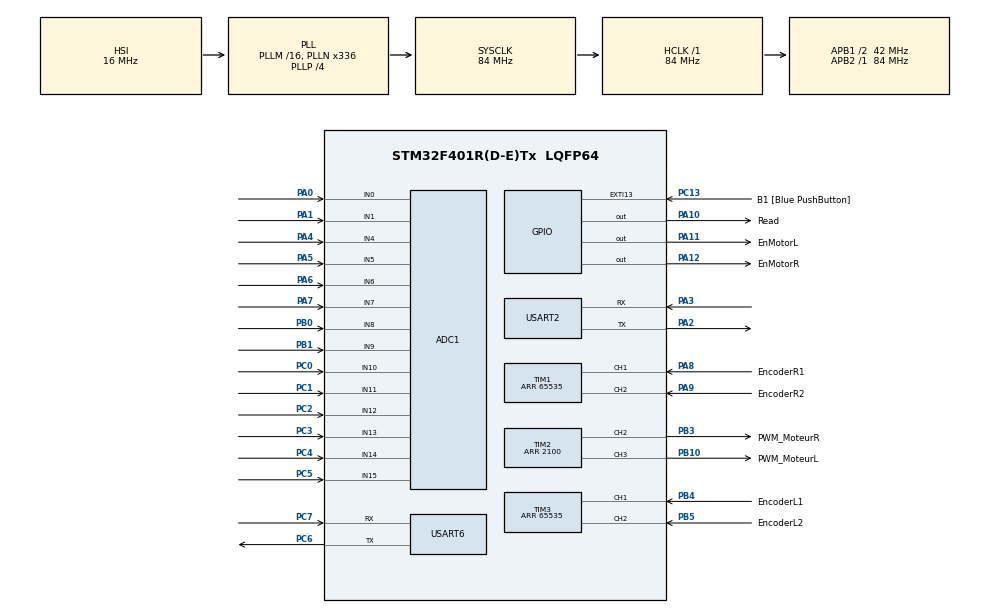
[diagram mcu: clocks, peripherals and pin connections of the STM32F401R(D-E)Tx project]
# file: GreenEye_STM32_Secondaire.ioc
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ADC1.Channel-0\#ChannelRegularConversion=ADC_CHANNEL_4
ADC1.Channel-1\#ChannelRegularConversion=ADC_CHANNEL_5
ADC1.ContinuousConvMode=DISABLE
ADC1.DMAContinuousRequests=ENABLE
ADC1.EOCSelection=ADC_EOC_SEQ_CONV
ADC1.ExternalTrigConv=ADC_EXTERNALTRIGCONV_T2_CC4
ADC1.ExternalTrigConvEdge=ADC_EXTERNALTRIGCONVEDGE_RISINGFALLING
ADC1.InjNumberOfConversion=0
ADC1.NbrOfConversion=2
ADC1.NbrOfConversionFlag=1
ADC1.Rank-0\#ChannelRegularConversion=1
ADC1.Rank-1\#ChannelRegularConversion=2
ADC1.SamplingTime-0\#ChannelRegularConversion=ADC_SAMPLETIME_3CYCLES
ADC1.SamplingTime-1\#ChannelRegularConversion=ADC_SAMPLETIME_3CYCLES
ADC1.ScanConvMode=ENABLE
ADC1.master=1
Dma.ADC1.4.Direction=DMA_PERIPH_TO_MEMORY
Dma.ADC1.4.FIFOMode=DMA_FIFOMODE_DISABLE
Dma.ADC1.4.Instance=DMA2_Stream0
Dma.ADC1.4.MemDataAlignment=DMA_MDATAALIGN_WORD
Dma.ADC1.4.MemInc=DMA_MINC_ENABLE
Dma.ADC1.4.Mode=DMA_CIRCULAR
Dma.ADC1.4.PeriphDataAlignment=DMA_PDATAALIGN_WORD
Dma.ADC1.4.PeriphInc=DMA_PINC_DISABLE
Dma.ADC1.4.Priority=DMA_PRIORITY_LOW
Dma.Request0=USART6_RX
Dma.Request1=USART6_TX
Dma.Request2=USART2_RX
Dma.Request3=USART2_TX
Dma.Request4=ADC1
Dma.USART2_RX.2.Direction=DMA_PERIPH_TO_MEMORY
Dma.USART2_RX.2.FIFOMode=DMA_FIFOMODE_DISABLE
Dma.USART2_RX.2.Instance=DMA1_Stream5
Dma.USART2_RX.2.MemDataAlignment=DMA_MDATAALIGN_BYTE
Dma.USART2_RX.2.MemInc=DMA_MINC_ENABLE
Dma.USART2_RX.2.Mode=DMA_NORMAL
Dma.USART2_RX.2.PeriphDataAlignment=DMA_PDATAALIGN_BYTE
Dma.USART2_RX.2.PeriphInc=DMA_PINC_DISABLE
Dma.USART2_RX.2.Priority=DMA_PRIORITY_LOW
Dma.USART2_TX.3.Direction=DMA_MEMORY_TO_PERIPH
Dma.USART2_TX.3.FIFOMode=DMA_FIFOMODE_DISABLE
Dma.USART2_TX.3.Instance=DMA1_Stream6
Dma.USART2_TX.3.MemDataAlignment=DMA_MDATAALIGN_BYTE
Dma.USART2_TX.3.MemInc=DMA_MINC_ENABLE
Dma.USART2_TX.3.Mode=DMA_NORMAL
Dma.USART2_TX.3.PeriphDataAlignment=DMA_PDATAALIGN_BYTE
Dma.USART2_TX.3.PeriphInc=DMA_PINC_DISABLE
Dma.USART2_TX.3.Priority=DMA_PRIORITY_LOW
Dma.USART6_RX.0.Direction=DMA_PERIPH_TO_MEMORY
Dma.USART6_RX.0.FIFOMode=DMA_FIFOMODE_DISABLE
Dma.USART6_RX.0.Instance=DMA2_Stream1
Dma.USART6_RX.0.MemDataAlignment=DMA_MDATAALIGN_BYTE
Dma.USART6_RX.0.MemInc=DMA_MINC_ENABLE
Dma.USART6_RX.0.Mode=DMA_NORMAL
Dma.USART6_RX.0.PeriphDataAlignment=DMA_PDATAALIGN_BYTE
Dma.USART6_RX.0.PeriphInc=DMA_PINC_DISABLE
Dma.USART6_RX.0.Priority=DMA_PRIORITY_LOW
Dma.USART6_TX.1.Direction=DMA_MEMORY_TO_PERIPH
Dma.USART6_TX.1.FIFOMode=DMA_FIFOMODE_DISABLE
Dma.USART6_TX.1.Instance=DMA2_Stream6
Dma.USART6_TX.1.MemDataAlignment=DMA_MDATAALIGN_BYTE
Dma.USART6_TX.1.MemInc=DMA_MINC_ENABLE
Dma.USART6_TX.1.Mode=DMA_NORMAL
Dma.USART6_TX.1.PeriphDataAlignment=DMA_PDATAALIGN_BYTE
Dma.USART6_TX.1.PeriphInc=DMA_PINC_DISABLE
Dma.USART6_TX.1.Priority=DMA_PRIORITY_LOW
Mcu.Family=STM32F4
Mcu.Name=STM32F401R(D-E)Tx
Mcu.Package=LQFP64
NVIC.ADC_IRQn=true\:0\:0\:false\:false\:true\:true
NVIC.DMA1_Stream5_IRQn=true\:0\:0\:false\:false\:true\:false
NVIC.DMA1_Stream6_IRQn=true\:0\:0\:false\:false\:true\:false
NVIC.DMA2_Stream0_IRQn=true\:0\:0\:false\:false\:true\:false
NVIC.DMA2_Stream1_IRQn=true\:0\:0\:false\:false\:true\:false
NVIC.DMA2_Stream6_IRQn=true\:0\:0\:false\:false\:true\:false
NVIC.PriorityGroup=NVIC_PRIORITYGROUP_0
NVIC.TIM1_UP_TIM10_IRQn=true\:0\:0\:false\:false\:true\:true
NVIC.TIM4_IRQn=true\:0\:0\:false\:false\:true\:true
NVIC.USART2_IRQn=true\:0\:0\:false\:false\:true\:true
NVIC.USART6_IRQn=true\:0\:0\:false\:false\:true\:true
PA0-WKUP.Signal=ADCx_IN0
PA1.Signal=ADCx_IN1
PA10.GPIO_Label=Read
PA10.Signal=GPIO_Output
PA11.GPIO_Label=EnMotorL
PA11.GPIO_Speed=GPIO_SPEED_FREQ_VERY_HIGH
PA11.Signal=GPIO_Output
PA12.GPIO_Label=EnMotorR
PA12.GPIO_Speed=GPIO_SPEED_FREQ_VERY_HIGH
PA12.Signal=GPIO_Output
PA13.GPIO_Label=TMS
PA13.Mode=Serial_Wire
PA13.Signal=SYS_JTMS-SWDIO
PA14.GPIO_Label=TCK
PA14.Mode=Serial_Wire
PA14.Signal=SYS_JTCK-SWCLK
PA2.Mode=Asynchronous
PA2.Signal=USART2_TX
PA3.Mode=Asynchronous
PA3.Signal=USART2_RX
PA4.Signal=ADCx_IN4
PA5.Signal=ADCx_IN5
PA6.Signal=ADCx_IN6
PA7.Signal=ADCx_IN7
PA8.GPIO_Label=EncoderR1
PA8.GPIO_PuPd=GPIO_PULLDOWN
PA8.GPIO_Speed=GPIO_SPEED_FREQ_VERY_HIGH
PA8.Signal=S_TIM1_CH1
PA9.GPIO_Label=EncoderR2
PA9.GPIO_PuPd=GPIO_PULLDOWN
PA9.GPIO_Speed=GPIO_SPEED_FREQ_VERY_HIGH
PA9.Signal=S_TIM1_CH2
PB0.Signal=ADCx_IN8
PB1.Signal=ADCx_IN9
PB10.GPIO_Label=PWM_MoteurL
PB10.Signal=S_TIM2_CH3
PB3.GPIO_Label=PWM_MoteurR
PB3.Signal=S_TIM2_CH2
PB4.GPIO_Label=EncoderL1
PB4.Signal=S_TIM3_CH1
PB5.GPIO_Label=EncoderL2
PB5.Signal=S_TIM3_CH2
PC0.Signal=ADCx_IN10
PC1.Signal=ADCx_IN11
PC13-ANTI_TAMP.GPIO_Label=B1 [Blue PushButton]
PC13-ANTI_TAMP.GPIO_ModeDefaultEXTI=GPIO_MODE_IT_FALLING
PC13-ANTI_TAMP.GPIO_PuPd=GPIO_NOPULL
PC13-ANTI_TAMP.Signal=GPXTI13
PC14-OSC32_IN.Mode=LSE-External-Oscillator
PC14-OSC32_IN.Signal=RCC_OSC32_IN
PC15-OSC32_OUT.Mode=LSE-External-Oscillator
PC15-OSC32_OUT.Signal=RCC_OSC32_OUT
PC2.Signal=ADCx_IN12
PC3.Signal=ADCx_IN13
PC4.Signal=ADCx_IN14
PC5.Signal=ADCx_IN15
PC6.Mode=Asynchronous
PC6.Signal=USART6_TX
PC7.Mode=Asynchronous
PC7.Signal=USART6_RX
PH0\ -\ OSC_IN.Mode=HSE-External-Clock-Source
PH0\ -\ OSC_IN.Signal=RCC_OSC_IN
PH1\ -\ OSC_OUT.Mode=HSE-External-Clock-Source
PH1\ -\ OSC_OUT.Signal=RCC_OSC_OUT
ProjectManager.HeapSize=0x200
ProjectManager.StackSize=0x400
ProjectManager.TargetToolchain=MDK-ARM V5
RCC.48MHZClocksFreq_Value=48000000
RCC.AHBFreq_Value=84000000
RCC.APB1CLKDivider=RCC_HCLK_DIV2
RCC.APB1Freq_Value=42000000
RCC.APB1TimFreq_Value=84000000
RCC.APB2Freq_Value=84000000
RCC.APB2TimFreq_Value=84000000
RCC.CortexFreq_Value=84000000
RCC.HCLKFreq_Value=84000000
RCC.HSE_VALUE=8000000
RCC.HSI_VALUE=16000000
RCC.PLLN=336
RCC.PLLP=RCC_PLLP_DIV4
RCC.PLLQ=7
RCC.SYSCLKFreq_VALUE=84000000
RCC.SYSCLKSource=RCC_SYSCLKSOURCE_PLLCLK
RCC.VCOOutputFreq_Value=336000000
SH.ADCx_IN0.0=ADC1_IN0,IN0
SH.ADCx_IN1.0=ADC1_IN1,IN1
SH.ADCx_IN10.0=ADC1_IN10,IN10
SH.ADCx_IN11.0=ADC1_IN11,IN11
SH.ADCx_IN12.0=ADC1_IN12,IN12
SH.ADCx_IN13.0=ADC1_IN13,IN13
SH.ADCx_IN14.0=ADC1_IN14,IN14
SH.ADCx_IN15.0=ADC1_IN15,IN15
SH.ADCx_IN4.0=ADC1_IN4,IN4
SH.ADCx_IN5.0=ADC1_IN5,IN5
SH.ADCx_IN6.0=ADC1_IN6,IN6
SH.ADCx_IN7.0=ADC1_IN7,IN7
SH.ADCx_IN8.0=ADC1_IN8,IN8
SH.ADCx_IN9.0=ADC1_IN9,IN9
SH.S_TIM1_CH1.0=TIM1_CH1,Encoder_Interface
SH.S_TIM1_CH2.0=TIM1_CH2,Encoder_Interface
SH.S_TIM2_CH2.0=TIM2_CH2,PWM Generation2 CH2
SH.S_TIM2_CH3.0=TIM2_CH3,PWM Generation3 CH3
SH.S_TIM3_CH1.0=TIM3_CH1,Encoder_Interface
SH.S_TIM3_CH2.0=TIM3_CH2,Encoder_Interface
TIM1.EncoderMode=TIM_ENCODERMODE_TI12
TIM1.IC1Filter=0
TIM1.IC2Filter=0
TIM1.Period=65535
TIM1.TIM_MasterOutputTrigger=TIM_TRGO_UPDATE
TIM1.TIM_MasterSlaveMode=TIM_MASTERSLAVEMODE_DISABLE
TIM10.Period=42300
TIM10.Prescaler=19
TIM2.Channel-Output\ Compare4\ No\ Output=TIM_CHANNEL_4
TIM2.Channel-PWM\ Generation2\ CH2=TIM_CHANNEL_2
TIM2.Channel-PWM\ Generation3\ CH3=TIM_CHANNEL_3
TIM2.CounterMode=TIM_COUNTERMODE_CENTERALIGNED1
TIM2.OCMode_4=TIM_OCMODE_TOGGLE
TIM2.Period=2100
TIM3.EncoderMode=TIM_ENCODERMODE_TI12
TIM3.Period=65535
TIM4.Channel-PWM\ Generation1\ No\ Output=TIM_CHANNEL_1
TIM4.Period=21000
TIM4.Prescaler=32
TIM4.Pulse-PWM\ Generation1\ No\ Output=2100
USART2.VirtualMode=VM_ASYNC
USART6.VirtualMode=VM_ASYNC
VP_TIM10_VS_ClockSourceINT.Mode=Enable_Timer
VP_TIM2_VS_ClockSourceINT.Mode=Internal
VP_TIM2_VS_no_output4.Mode=Output Compare4 No Output
VP_TIM4_VS_no_output1.Mode=PWM Generation1 No Output
VP_TIM9_VS_ClockSourceINT.Mode=Internal
board=NUCLEO-F401RE

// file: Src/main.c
/* USER CODE BEGIN Header */
/**
  ******************************************************************************
  * @file           : main.c
  * @brief          : Main program body
  ******************************************************************************
  ** This notice applies to any and all portions of this file
  * that are not between comment pairs USER CODE BEGIN and
  * USER CODE END. Other portions of this file, whether
  * inserted by the user or by software development tools
  * are owned by their respective copyright owners.
  *
  * COPYRIGHT(c) 2019 STMicroelectronics
  *
  * Redistribution and use in source and binary forms, with or without modification,
  * are permitted provided that the following conditions are met:
  *   1. Redistributions of source code must retain the above copyright notice,
  *      this list of conditions and the following disclaimer.
  *   2. Redistributions in binary form must reproduce the above copyright notice,
  *      this list of conditions and the following disclaimer in the documentation
  *      and/or other materials provided with the distribution.
  *   3. Neither the name of STMicroelectronics nor the names of its contributors
  *      may be used to endorse or promote products derived from this software
  *      without specific prior written permission.
  *
  * THIS SOFTWARE IS PROVIDED BY THE COPYRIGHT HOLDERS AND CONTRIBUTORS "AS IS"
  * AND ANY EXPRESS OR IMPLIED WARRANTIES, INCLUDING, BUT NOT LIMITED TO, THE
  * IMPLIED WARRANTIES OF MERCHANTABILITY AND FITNESS FOR A PARTICULAR PURPOSE ARE
  * DISCLAIMED. IN NO EVENT SHALL THE COPYRIGHT HOLDER OR CONTRIBUTORS BE LIABLE
  * FOR ANY DIRECT, INDIRECT, INCIDENTAL, SPECIAL, EXEMPLARY, OR CONSEQUENTIAL
  * DAMAGES (INCLUDING, BUT NOT LIMITED TO, PROCUREMENT OF SUBSTITUTE GOODS OR
  * SERVICES; LOSS OF USE, DATA, OR PROFITS; OR BUSINESS INTERRUPTION) HOWEVER
  * CAUSED AND ON ANY THEORY OF LIABILITY, WHETHER IN CONTRACT, STRICT LIABILITY,
  * OR TORT (INCLUDING NEGLIGENCE OR OTHERWISE) ARISING IN ANY WAY OUT OF THE USE
  * OF THIS SOFTWARE, EVEN IF ADVISED OF THE POSSIBILITY OF SUCH DAMAGE.
  *
  ******************************************************************************
  */
/* USER CODE END Header */

#include "main.h"

/* USER CODE BEGIN Includes */
#include <stdio.h>
#include <stdlib.h>
#include <math.h>
#include <string.h>
#include "Communication_function.h"
#include "Extern_call_variable.h"
#include "List_Variables.h"
/* USER CODE END Includes */

ADC_HandleTypeDef hadc1;
DMA_HandleTypeDef hdma_adc1;

TIM_HandleTypeDef htim1;
TIM_HandleTypeDef htim2;
TIM_HandleTypeDef htim3;
TIM_HandleTypeDef htim4;
TIM_HandleTypeDef htim9;
TIM_HandleTypeDef htim10;

UART_HandleTypeDef huart2;
UART_HandleTypeDef huart6;
DMA_HandleTypeDef hdma_usart2_rx;
DMA_HandleTypeDef hdma_usart2_tx;
DMA_HandleTypeDef hdma_usart6_rx;
DMA_HandleTypeDef hdma_usart6_tx;

void SystemClock_Config(void);
static void MX_GPIO_Init(void);
static void MX_DMA_Init(void);
static void MX_TIM1_Init(void);
static void MX_TIM9_Init(void);
static void MX_USART6_UART_Init(void);
static void MX_USART2_UART_Init(void);
static void MX_ADC1_Init(void);
static void MX_TIM3_Init(void);
static void MX_TIM2_Init(void);
static void MX_TIM4_Init(void);
static void MX_TIM10_Init(void);

int main(void)
{

  /* MCU Configuration--------------------------------------------------------*/

  /* Reset of all peripherals, Initializes the Flash interface and the Systick. */
  HAL_Init();

  /* Configure the system clock */
  SystemClock_Config();

  /* Initialize all configured peripherals */
  MX_GPIO_Init();
  MX_DMA_Init();
  MX_TIM1_Init();
  MX_TIM9_Init();
  MX_USART6_UART_Init();
  MX_USART2_UART_Init();
  MX_ADC1_Init();
  MX_TIM3_Init();
  MX_TIM2_Init();
  MX_TIM4_Init();
  MX_TIM10_Init();
  /* USER CODE BEGIN 2 */
  //HAL_TIM_Base_Start(&htim1);  //PA9 & PA8 for ch1 and ch2 of encoder by default
	//HAL_TIM_Base_Start(&htim5);  //PA9 & PA8 for ch1 and ch2 of encoder by default
	HAL_TIM_PWM_Start(&htim2,TIM_CHANNEL_2);// PWM Moteur
	HAL_TIM_PWM_Start(&htim2,TIM_CHANNEL_3);// PWM Moteur
	HAL_TIM_OC_Start(&htim2,TIM_CHANNEL_4);//Conversion adc
	HAL_TIM_PWM_Start_IT(&htim4,TIM_CHANNEL_1);
	HAL_TIM_Encoder_Start(&htim1,TIM_CHANNEL_ALL);
	HAL_TIM_Encoder_Start(&htim3,TIM_CHANNEL_ALL);
	HAL_TIM_Base_Start_IT(&htim10);

	HAL_ADC_Start_DMA(&hadc1,Result_ADC,2);
	__HAL_UART_ENABLE_IT(&huart6, UART_IT_IDLE);   // Enable IDLE Line Interrupt
	__HAL_DMA_ENABLE_IT (&hdma_usart6_rx, DMA_IT_TC);  // Enable DMA Complete Interruption (DMA is full)
	hdma_usart6_rx.Instance->CR &= ~DMA_SxCR_HTIE;  // Disable DMA Half Complete Interruption (DMA is half full)
	HAL_UART_Receive_DMA (&huart6, BUFFER_RX[Indice_Stop_RX], SIZE_UART);
	__HAL_UART_ENABLE_IT(&huart2, UART_IT_IDLE);   // Enable IDLE Line Interrupt
	__HAL_DMA_ENABLE_IT (&hdma_usart2_rx, DMA_IT_TC);  // Enable DMA Complete Interruption (DMA is full)
	hdma_usart2_rx.Instance->CR &= ~DMA_SxCR_HTIE;  // Disable DMA Half Complete Interruption (DMA is half full)
	HAL_UART_Receive_DMA (&huart2, BUFFER_RX_UART2[Indice_Stop_RX_UART2], SIZE_UART);

  /* USER CODE END 2 */

  /* Infinite loop */
  /* USER CODE BEGIN WHILE */
	/* Communication with :Transmit_UART();)*/
  while (1)
  {
    /* USER CODE END WHILE */

    /* USER CODE BEGIN 3 */

	//TIM2->CCR2=abs(Output_Right_Motor);
					//HAL_GPIO_WritePin(GPIOA,GPIO_PIN_12,GPIO_PIN_RESET);

		Analyse_RX_Buffer();
		HAL_GPIO_WritePin(GPIOA,GPIO_PIN_10,GPIO_PIN_SET);
	}
  /* USER CODE END 3 */
}

void SystemClock_Config(void)
{
  RCC_OscInitTypeDef RCC_OscInitStruct = {0};
  RCC_ClkInitTypeDef RCC_ClkInitStruct = {0};

  /**Configure the main internal regulator output voltage
  */
  __HAL_RCC_PWR_CLK_ENABLE();
  __HAL_PWR_VOLTAGESCALING_CONFIG(PWR_REGULATOR_VOLTAGE_SCALE2);
  /**Initializes the CPU, AHB and APB busses clocks
  */
  RCC_OscInitStruct.OscillatorType = RCC_OSCILLATORTYPE_HSI;
  RCC_OscInitStruct.HSIState = RCC_HSI_ON;
  RCC_OscInitStruct.HSICalibrationValue = RCC_HSICALIBRATION_DEFAULT;
  RCC_OscInitStruct.PLL.PLLState = RCC_PLL_ON;
  RCC_OscInitStruct.PLL.PLLSource = RCC_PLLSOURCE_HSI;
  RCC_OscInitStruct.PLL.PLLM = 16;
  RCC_OscInitStruct.PLL.PLLN = 336;
  RCC_OscInitStruct.PLL.PLLP = RCC_PLLP_DIV4;
  RCC_OscInitStruct.PLL.PLLQ = 7;
  if (HAL_RCC_OscConfig(&RCC_OscInitStruct) != HAL_OK)
  {
    Error_Handler();
  }
  /**Initializes the CPU, AHB and APB busses clocks
  */
  RCC_ClkInitStruct.ClockType = RCC_CLOCKTYPE_HCLK|RCC_CLOCKTYPE_SYSCLK
                              |RCC_CLOCKTYPE_PCLK1|RCC_CLOCKTYPE_PCLK2;
  RCC_ClkInitStruct.SYSCLKSource = RCC_SYSCLKSOURCE_PLLCLK;
  RCC_ClkInitStruct.AHBCLKDivider = RCC_SYSCLK_DIV1;
  RCC_ClkInitStruct.APB1CLKDivider = RCC_HCLK_DIV2;
  RCC_ClkInitStruct.APB2CLKDivider = RCC_HCLK_DIV1;

  if (HAL_RCC_ClockConfig(&RCC_ClkInitStruct, FLASH_LATENCY_2) != HAL_OK)
  {
    Error_Handler();
  }
}

static void MX_ADC1_Init(void)
{

  ADC_ChannelConfTypeDef sConfig = {0};

  /**Configure the global features of the ADC (Clock, Resolution, Data Alignment and number of conversion)
  */
  hadc1.Instance = ADC1;
  hadc1.Init.ClockPrescaler = ADC_CLOCK_SYNC_PCLK_DIV4;
  hadc1.Init.Resolution = ADC_RESOLUTION_12B;
  hadc1.Init.ScanConvMode = ENABLE;
  hadc1.Init.ContinuousConvMode = DISABLE;
  hadc1.Init.DiscontinuousConvMode = DISABLE;
  hadc1.Init.ExternalTrigConvEdge = ADC_EXTERNALTRIGCONVEDGE_RISINGFALLING;
  hadc1.Init.ExternalTrigConv = ADC_EXTERNALTRIGCONV_T2_CC4;
  hadc1.Init.DataAlign = ADC_DATAALIGN_RIGHT;
  hadc1.Init.NbrOfConversion = 2;
  hadc1.Init.DMAContinuousRequests = ENABLE;
  hadc1.Init.EOCSelection = ADC_EOC_SEQ_CONV;
  if (HAL_ADC_Init(&hadc1) != HAL_OK)
  {
    Error_Handler();
  }
  /**Configure for the selected ADC regular channel its corresponding rank in the sequencer and its sample time.
  */
  sConfig.Channel = ADC_CHANNEL_4;
  sConfig.Rank = 1;
  sConfig.SamplingTime = ADC_SAMPLETIME_3CYCLES;
  if (HAL_ADC_ConfigChannel(&hadc1, &sConfig) != HAL_OK)
  {
    Error_Handler();
  }
  /**Configure for the selected ADC regular channel its corresponding rank in the sequencer and its sample time.
  */
  sConfig.Channel = ADC_CHANNEL_5;
  sConfig.Rank = 2;
  if (HAL_ADC_ConfigChannel(&hadc1, &sConfig) != HAL_OK)
  {
    Error_Handler();
  }

}

static void MX_TIM1_Init(void)
{

  TIM_Encoder_InitTypeDef sConfig = {0};
  TIM_MasterConfigTypeDef sMasterConfig = {0};

  htim1.Instance = TIM1;
  htim1.Init.Prescaler = 0;
  htim1.Init.CounterMode = TIM_COUNTERMODE_UP;
  htim1.Init.Period = 65535;
  htim1.Init.ClockDivision = TIM_CLOCKDIVISION_DIV1;
  htim1.Init.RepetitionCounter = 0;
  sConfig.EncoderMode = TIM_ENCODERMODE_TI12;
  sConfig.IC1Polarity = TIM_ICPOLARITY_RISING;
  sConfig.IC1Selection = TIM_ICSELECTION_DIRECTTI;
  sConfig.IC1Prescaler = TIM_ICPSC_DIV1;
  sConfig.IC1Filter = 0;
  sConfig.IC2Polarity = TIM_ICPOLARITY_RISING;
  sConfig.IC2Selection = TIM_ICSELECTION_DIRECTTI;
  sConfig.IC2Prescaler = TIM_ICPSC_DIV1;
  sConfig.IC2Filter = 0;
  if (HAL_TIM_Encoder_Init(&htim1, &sConfig) != HAL_OK)
  {
    Error_Handler();
  }
  sMasterConfig.MasterOutputTrigger = TIM_TRGO_UPDATE;
  sMasterConfig.MasterSlaveMode = TIM_MASTERSLAVEMODE_DISABLE;
  if (HAL_TIMEx_MasterConfigSynchronization(&htim1, &sMasterConfig) != HAL_OK)
  {
    Error_Handler();
  }

}

static void MX_TIM2_Init(void)
{

  TIM_ClockConfigTypeDef sClockSourceConfig = {0};
  TIM_MasterConfigTypeDef sMasterConfig = {0};
  TIM_OC_InitTypeDef sConfigOC = {0};

  htim2.Instance = TIM2;
  htim2.Init.Prescaler = 0;
  htim2.Init.CounterMode = TIM_COUNTERMODE_CENTERALIGNED1;
  htim2.Init.Period = 2100;
  htim2.Init.ClockDivision = TIM_CLOCKDIVISION_DIV1;
  if (HAL_TIM_Base_Init(&htim2) != HAL_OK)
  {
    Error_Handler();
  }
  sClockSourceConfig.ClockSource = TIM_CLOCKSOURCE_INTERNAL;
  if (HAL_TIM_ConfigClockSource(&htim2, &sClockSourceConfig) != HAL_OK)
  {
    Error_Handler();
  }
  if (HAL_TIM_PWM_Init(&htim2) != HAL_OK)
  {
    Error_Handler();
  }
  if (HAL_TIM_OC_Init(&htim2) != HAL_OK)
  {
    Error_Handler();
  }
  sMasterConfig.MasterOutputTrigger = TIM_TRGO_RESET;
  sMasterConfig.MasterSlaveMode = TIM_MASTERSLAVEMODE_DISABLE;
  if (HAL_TIMEx_MasterConfigSynchronization(&htim2, &sMasterConfig) != HAL_OK)
  {
    Error_Handler();
  }
  sConfigOC.OCMode = TIM_OCMODE_PWM1;
  sConfigOC.Pulse = 0;
  sConfigOC.OCPolarity = TIM_OCPOLARITY_HIGH;
  sConfigOC.OCFastMode = TIM_OCFAST_DISABLE;
  if (HAL_TIM_PWM_ConfigChannel(&htim2, &sConfigOC, TIM_CHANNEL_2) != HAL_OK)
  {
    Error_Handler();
  }
  if (HAL_TIM_PWM_ConfigChannel(&htim2, &sConfigOC, TIM_CHANNEL_3) != HAL_OK)
  {
    Error_Handler();
  }
  sConfigOC.OCMode = TIM_OCMODE_TOGGLE;
  if (HAL_TIM_OC_ConfigChannel(&htim2, &sConfigOC, TIM_CHANNEL_4) != HAL_OK)
  {
    Error_Handler();
  }
  HAL_TIM_MspPostInit(&htim2);

}

static void MX_TIM3_Init(void)
{

  TIM_Encoder_InitTypeDef sConfig = {0};
  TIM_MasterConfigTypeDef sMasterConfig = {0};

  htim3.Instance = TIM3;
  htim3.Init.Prescaler = 0;
  htim3.Init.CounterMode = TIM_COUNTERMODE_UP;
  htim3.Init.Period = 65535;
  htim3.Init.ClockDivision = TIM_CLOCKDIVISION_DIV1;
  sConfig.EncoderMode = TIM_ENCODERMODE_TI12;
  sConfig.IC1Polarity = TIM_ICPOLARITY_RISING;
  sConfig.IC1Selection = TIM_ICSELECTION_DIRECTTI;
  sConfig.IC1Prescaler = TIM_ICPSC_DIV1;
  sConfig.IC1Filter = 0;
  sConfig.IC2Polarity = TIM_ICPOLARITY_RISING;
  sConfig.IC2Selection = TIM_ICSELECTION_DIRECTTI;
  sConfig.IC2Prescaler = TIM_ICPSC_DIV1;
  sConfig.IC2Filter = 0;
  if (HAL_TIM_Encoder_Init(&htim3, &sConfig) != HAL_OK)
  {
    Error_Handler();
  }
  sMasterConfig.MasterOutputTrigger = TIM_TRGO_RESET;
  sMasterConfig.MasterSlaveMode = TIM_MASTERSLAVEMODE_DISABLE;
  if (HAL_TIMEx_MasterConfigSynchronization(&htim3, &sMasterConfig) != HAL_OK)
  {
    Error_Handler();
  }

}

static void MX_TIM4_Init(void)
{

  TIM_MasterConfigTypeDef sMasterConfig = {0};
  TIM_OC_InitTypeDef sConfigOC = {0};

  htim4.Instance = TIM4;
  htim4.Init.Prescaler = 32;
  htim4.Init.CounterMode = TIM_COUNTERMODE_UP;
  htim4.Init.Period = 21000;
  htim4.Init.ClockDivision = TIM_CLOCKDIVISION_DIV1;
  if (HAL_TIM_PWM_Init(&htim4) != HAL_OK)
  {
    Error_Handler();
  }
  sMasterConfig.MasterOutputTrigger = TIM_TRGO_RESET;
  sMasterConfig.MasterSlaveMode = TIM_MASTERSLAVEMODE_DISABLE;
  if (HAL_TIMEx_MasterConfigSynchronization(&htim4, &sMasterConfig) != HAL_OK)
  {
    Error_Handler();
  }
  sConfigOC.OCMode = TIM_OCMODE_PWM1;
  sConfigOC.Pulse = 2100;
  sConfigOC.OCPolarity = TIM_OCPOLARITY_HIGH;
  sConfigOC.OCFastMode = TIM_OCFAST_DISABLE;
  if (HAL_TIM_PWM_ConfigChannel(&htim4, &sConfigOC, TIM_CHANNEL_1) != HAL_OK)
  {
    Error_Handler();
  }

}

static void MX_TIM9_Init(void)
{

  TIM_ClockConfigTypeDef sClockSourceConfig = {0};

  htim9.Instance = TIM9;
  htim9.Init.Prescaler = 0;
  htim9.Init.CounterMode = TIM_COUNTERMODE_UP;
  htim9.Init.Period = 0;
  htim9.Init.ClockDivision = TIM_CLOCKDIVISION_DIV1;
  if (HAL_TIM_Base_Init(&htim9) != HAL_OK)
  {
    Error_Handler();
  }
  sClockSourceConfig.ClockSource = TIM_CLOCKSOURCE_INTERNAL;
  if (HAL_TIM_ConfigClockSource(&htim9, &sClockSourceConfig) != HAL_OK)
  {
    Error_Handler();
  }

}

static void MX_TIM10_Init(void)
{

  htim10.Instance = TIM10;
  htim10.Init.Prescaler = 19;
  htim10.Init.CounterMode = TIM_COUNTERMODE_UP;
  htim10.Init.Period = 42300;
  htim10.Init.ClockDivision = TIM_CLOCKDIVISION_DIV1;
  if (HAL_TIM_Base_Init(&htim10) != HAL_OK)
  {
    Error_Handler();
  }

}

static void MX_USART2_UART_Init(void)
{

  huart2.Instance = USART2;
  huart2.Init.BaudRate = 115200;
  huart2.Init.WordLength = UART_WORDLENGTH_8B;
  huart2.Init.StopBits = UART_STOPBITS_1;
  huart2.Init.Parity = UART_PARITY_NONE;
  huart2.Init.Mode = UART_MODE_TX_RX;
  huart2.Init.HwFlowCtl = UART_HWCONTROL_NONE;
  huart2.Init.OverSampling = UART_OVERSAMPLING_16;
  if (HAL_UART_Init(&huart2) != HAL_OK)
  {
    Error_Handler();
  }

}

static void MX_USART6_UART_Init(void)
{

  huart6.Instance = USART6;
  huart6.Init.BaudRate = 115200;
  huart6.Init.WordLength = UART_WORDLENGTH_8B;
  huart6.Init.StopBits = UART_STOPBITS_1;
  huart6.Init.Parity = UART_PARITY_NONE;
  huart6.Init.Mode = UART_MODE_TX_RX;
  huart6.Init.HwFlowCtl = UART_HWCONTROL_NONE;
  huart6.Init.OverSampling = UART_OVERSAMPLING_16;
  if (HAL_UART_Init(&huart6) != HAL_OK)
  {
    Error_Handler();
  }

}

static void MX_DMA_Init(void)
{
  /* DMA controller clock enable */
  __HAL_RCC_DMA2_CLK_ENABLE();
  __HAL_RCC_DMA1_CLK_ENABLE();

  /* DMA interrupt init */
  /* DMA1_Stream5_IRQn interrupt configuration */
  HAL_NVIC_SetPriority(DMA1_Stream5_IRQn, 0, 0);
  HAL_NVIC_EnableIRQ(DMA1_Stream5_IRQn);
  /* DMA1_Stream6_IRQn interrupt configuration */
  HAL_NVIC_SetPriority(DMA1_Stream6_IRQn, 0, 0);
  HAL_NVIC_EnableIRQ(DMA1_Stream6_IRQn);
  /* DMA2_Stream0_IRQn interrupt configuration */
  HAL_NVIC_SetPriority(DMA2_Stream0_IRQn, 0, 0);
  HAL_NVIC_EnableIRQ(DMA2_Stream0_IRQn);
  /* DMA2_Stream1_IRQn interrupt configuration */
  HAL_NVIC_SetPriority(DMA2_Stream1_IRQn, 0, 0);
  HAL_NVIC_EnableIRQ(DMA2_Stream1_IRQn);
  /* DMA2_Stream6_IRQn interrupt configuration */
  HAL_NVIC_SetPriority(DMA2_Stream6_IRQn, 0, 0);
  HAL_NVIC_EnableIRQ(DMA2_Stream6_IRQn);

}

static void MX_GPIO_Init(void)
{
  GPIO_InitTypeDef GPIO_InitStruct = {0};

  /* GPIO Ports Clock Enable */
  __HAL_RCC_GPIOC_CLK_ENABLE();
  __HAL_RCC_GPIOH_CLK_ENABLE();
  __HAL_RCC_GPIOA_CLK_ENABLE();
  __HAL_RCC_GPIOB_CLK_ENABLE();

  /*Configure GPIO pin Output Level */
  HAL_GPIO_WritePin(GPIOA, Read_Pin|EnMotorL_Pin|EnMotorR_Pin, GPIO_PIN_RESET);

  /*Configure GPIO pin : B1_Pin */
  GPIO_InitStruct.Pin = B1_Pin;
  GPIO_InitStruct.Mode = GPIO_MODE_IT_FALLING;
  GPIO_InitStruct.Pull = GPIO_NOPULL;
  HAL_GPIO_Init(B1_GPIO_Port, &GPIO_InitStruct);

  /*Configure GPIO pin : Read_Pin */
  GPIO_InitStruct.Pin = Read_Pin;
  GPIO_InitStruct.Mode = GPIO_MODE_OUTPUT_PP;
  GPIO_InitStruct.Pull = GPIO_NOPULL;
  GPIO_InitStruct.Speed = GPIO_SPEED_FREQ_LOW;
  HAL_GPIO_Init(Read_GPIO_Port, &GPIO_InitStruct);

  /*Configure GPIO pins : EnMotorL_Pin EnMotorR_Pin */
  GPIO_InitStruct.Pin = EnMotorL_Pin|EnMotorR_Pin;
  GPIO_InitStruct.Mode = GPIO_MODE_OUTPUT_PP;
  GPIO_InitStruct.Pull = GPIO_NOPULL;
  GPIO_InitStruct.Speed = GPIO_SPEED_FREQ_VERY_HIGH;
  HAL_GPIO_Init(GPIOA, &GPIO_InitStruct);

}

/* USER CODE BEGIN 4 */
int __io_putchar(int ch)
{
 uint8_t c[1];
 c[0] = ch & 0x00FF;
 HAL_UART_Transmit(&huart6, &*c, 1, 10);
 return ch;
}

int _write(int file,char *ptr, int len)
{
 int DataIdx;
 for(DataIdx= 0; DataIdx< len; DataIdx++)
 {
 __io_putchar(*ptr++);
 }
return len;
}
/* USER CODE END 4 */

void Error_Handler(void)
{
}

/************************ (C) COPYRIGHT STMicroelectronics *****END OF FILE****/
